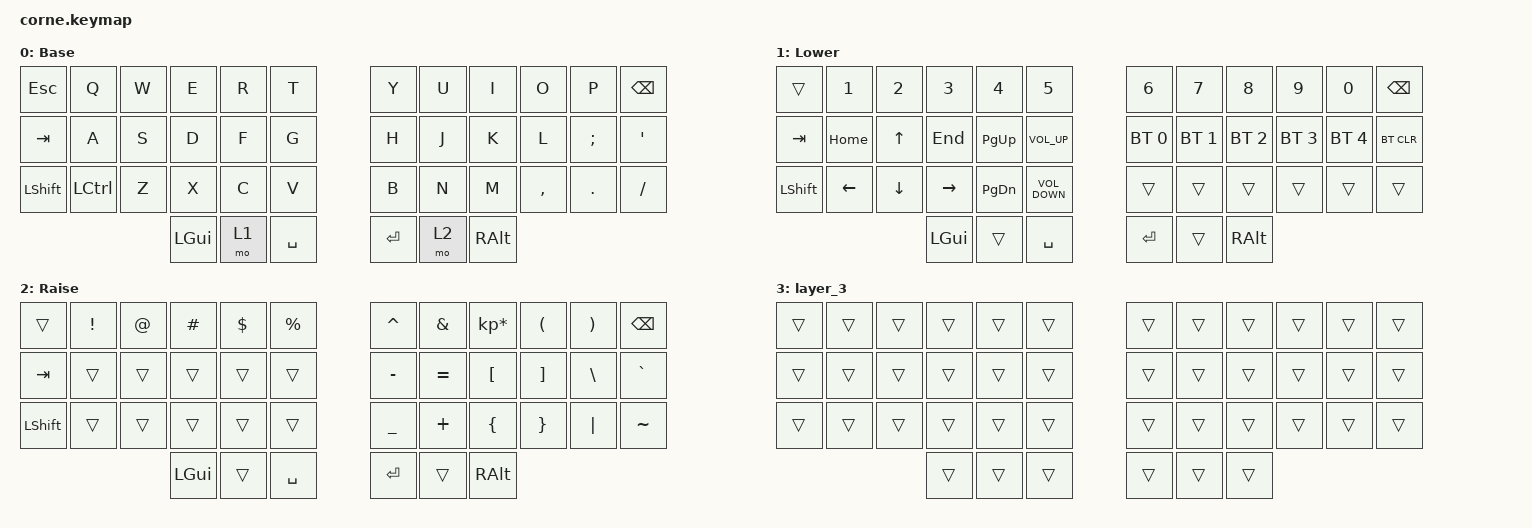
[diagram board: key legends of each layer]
/*
 * Copyright (c) 2020 The ZMK Contributors
 *
 * SPDX-License-Identifier: MIT
 */

#include <behaviors.dtsi>
#include <dt-bindings/zmk/bt.h>
#include <dt-bindings/zmk/keys.h>

/ {
    keymap {
        compatible = "zmk,keymap";

        default_layer {
            // -----------------------------------------------------------------------------------------
            // |  TAB |  Q  |  W  |  E  |  R  |  T  |   |  Y  |  U   |  I  |  O  |  P  | BKSP |
            // | CTRL |  A  |  S  |  D  |  F  |  G  |   |  H  |  J   |  K  |  L  |  ;  |  '   |
            // | SHFT |  Z  |  X  |  C  |  V  |  B  |   |  N  |  M   |  ,  |  .  |  /  | ESC  |
            //                    | GUI | LWR | SPC |   | ENT | RSE  | ALT |

            label = "Base";
            bindings = <
&kp ESCAPE  &kp Q             &kp W  &kp E     &kp R  &kp T        &kp Y    &kp U  &kp I     &kp O      &kp P     &kp BSPC
&kp TAB     &kp A             &kp S  &kp D     &kp F  &kp G        &kp H    &kp J  &kp K     &kp L      &kp SEMI  &kp SQT
&kp LSHFT   &kp LEFT_CONTROL  &kp Z  &kp X     &kp C  &kp V        &kp B    &kp N  &kp M     &kp COMMA  &kp DOT   &kp SLASH
                                     &kp LGUI  &mo 1  &kp SPACE    &kp RET  &mo 2  &kp RALT
            >;
        };

        lower_layer {
            // -----------------------------------------------------------------------------------------
            // |  TAB |  1  |  2  |  3  |  4  |  5  |   |  6  |  7  |  8  |  9  |  0  | BKSP |
            // | BTCLR| BT1 | BT2 | BT3 | BT4 | BT5 |   | LFT | DWN |  UP | RGT |     |      |
            // | SHFT |     |     |     |     |     |   |     |     |     |     |     |      |
            //                    | GUI |     | SPC |   | ENT |     | ALT |

            label = "Lower";
            bindings = <
&trans     &kp N1    &kp N2          &kp N3     &kp N4         &kp N5               &kp N6        &kp N7        &kp N8        &kp N9        &kp N0        &kp BSPC
&kp TAB    &kp HOME  &kp UP          &kp END    &kp PG_UP      &kp C_VOLUME_UP      &bt BT_SEL 0  &bt BT_SEL 1  &bt BT_SEL 2  &bt BT_SEL 3  &bt BT_SEL 4  &bt BT_CLR
&kp LSHFT  &kp LEFT  &kp DOWN_ARROW  &kp RIGHT  &kp PAGE_DOWN  &kp C_VOLUME_DOWN    &trans        &trans        &trans        &trans        &trans        &trans
                                     &kp LGUI   &trans         &kp SPACE            &kp RET       &trans        &kp RALT
            >;
        };

        raise_layer {
            // -----------------------------------------------------------------------------------------
            // |  TAB |  !  |  @  |  #  |  $  |  %  |   |  ^  |  &  |  *  |  (  |  )  | BKSP |
            // | CTRL |     |     |     |     |     |   |  -  |  =  |  [  |  ]  |  \  |  `   |
            // | SHFT |     |     |     |     |     |   |  _  |  +  |  {  |  }  | "|" |  ~   |
            //                    | GUI |     | SPC |   | ENT |     | ALT |

            label = "Raise";
            bindings = <
&trans     &kp EXCL  &kp AT  &kp HASH  &kp DLLR  &kp PRCNT    &kp CARET  &kp AMPS   &kp KP_MULTIPLY  &kp LPAR  &kp RPAR  &kp BSPC
&kp TAB    &trans    &trans  &trans    &trans    &trans       &kp MINUS  &kp EQUAL  &kp LBKT         &kp RBKT  &kp BSLH  &kp GRAVE
&kp LSHFT  &trans    &trans  &trans    &trans    &trans       &kp UNDER  &kp PLUS   &kp LBRC         &kp RBRC  &kp PIPE  &kp TILDE
                             &kp LGUI  &trans    &kp SPACE    &kp RET    &trans     &kp RALT
            >;
        };

        layer_3 {
            bindings = <
&trans  &trans  &trans  &trans  &trans  &trans    &trans  &trans  &trans  &trans  &trans  &trans
&trans  &trans  &trans  &trans  &trans  &trans    &trans  &trans  &trans  &trans  &trans  &trans
&trans  &trans  &trans  &trans  &trans  &trans    &trans  &trans  &trans  &trans  &trans  &trans
                        &trans  &trans  &trans    &trans  &trans  &trans
            >;
        };
    };
};
